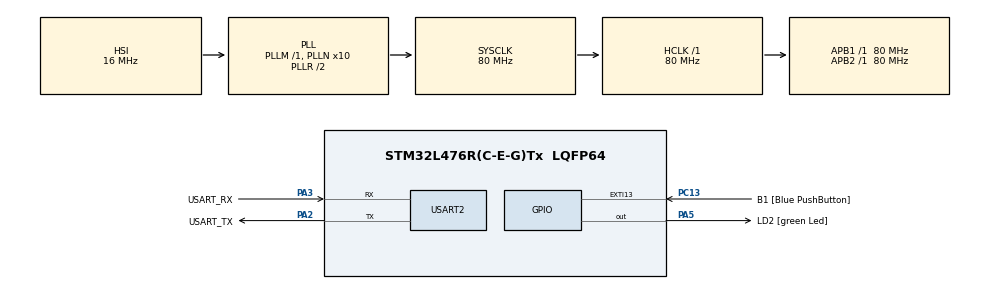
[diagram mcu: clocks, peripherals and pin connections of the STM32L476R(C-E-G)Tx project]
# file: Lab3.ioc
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Mcu.Family=STM32L4
Mcu.Name=STM32L476R(C-E-G)Tx
Mcu.Package=LQFP64
NVIC.PriorityGroup=NVIC_PRIORITYGROUP_4
PA13\ (JTMS-SWDIO).GPIO_Label=TMS
PA13\ (JTMS-SWDIO).Mode=Serial_Wire
PA13\ (JTMS-SWDIO).Signal=SYS_JTMS-SWDIO
PA14\ (JTCK-SWCLK).GPIO_Label=TCK
PA14\ (JTCK-SWCLK).Mode=Serial_Wire
PA14\ (JTCK-SWCLK).Signal=SYS_JTCK-SWCLK
PA2.GPIO_Label=USART_TX
PA2.GPIO_Mode=GPIO_MODE_AF_PP
PA2.GPIO_PuPd=GPIO_NOPULL
PA2.GPIO_Speed=GPIO_SPEED_FREQ_VERY_HIGH
PA2.Mode=Asynchronous
PA2.Signal=USART2_TX
PA3.GPIO_Label=USART_RX
PA3.GPIO_Mode=GPIO_MODE_AF_PP
PA3.GPIO_PuPd=GPIO_NOPULL
PA3.GPIO_Speed=GPIO_SPEED_FREQ_VERY_HIGH
PA3.Mode=Asynchronous
PA3.Signal=USART2_RX
PA5.GPIO_Label=LD2 [green Led]
PA5.GPIO_ModeDefaultOutputPP=GPIO_MODE_OUTPUT_PP
PA5.GPIO_PuPd=GPIO_NOPULL
PA5.GPIO_Speed=GPIO_SPEED_FREQ_LOW
PA5.Signal=GPIO_Output
PB3\ (JTDO-TRACESWO).GPIO_Label=SWO
PB3\ (JTDO-TRACESWO).Signal=SYS_JTDO-SWO
PC13.GPIO_Label=B1 [Blue PushButton]
PC13.GPIO_ModeDefaultEXTI=GPIO_MODE_IT_FALLING
PC13.GPIO_PuPd=GPIO_NOPULL
PC13.Signal=GPXTI13
PC14-OSC32_IN\ (PC14).Mode=LSE-External-Oscillator
PC14-OSC32_IN\ (PC14).Signal=RCC_OSC32_IN
PC15-OSC32_OUT\ (PC15).Mode=LSE-External-Oscillator
PC15-OSC32_OUT\ (PC15).Signal=RCC_OSC32_OUT
PH0-OSC_IN\ (PH0).Mode=HSE-External-Oscillator
PH0-OSC_IN\ (PH0).Signal=RCC_OSC_IN
PH1-OSC_OUT\ (PH1).Mode=HSE-External-Oscillator
PH1-OSC_OUT\ (PH1).Signal=RCC_OSC_OUT
ProjectManager.HeapSize=0x200
ProjectManager.StackSize=0x400
ProjectManager.TargetToolchain=STM32CubeIDE
RCC.ADCFreq_Value=64000000
RCC.AHBFreq_Value=80000000
RCC.APB1Freq_Value=80000000
RCC.APB1TimFreq_Value=80000000
RCC.APB2Freq_Value=80000000
RCC.APB2TimFreq_Value=80000000
RCC.CortexFreq_Value=80000000
RCC.HCLKFreq_Value=80000000
RCC.HSE_VALUE=8000000
RCC.HSI_VALUE=16000000
RCC.MSI_VALUE=4000000
RCC.PLLN=10
RCC.PLLSourceVirtual=RCC_PLLSOURCE_HSI
RCC.PREFETCH_ENABLE=1
RCC.SYSCLKFreq_VALUE=80000000
RCC.SYSCLKSource=RCC_SYSCLKSOURCE_PLLCLK
RCC.USBFreq_Value=64000000
RCC.VCOOutputFreq_Value=160000000
USART2.VirtualMode-Asynchronous=VM_ASYNC
board=NUCLEO-L476RG

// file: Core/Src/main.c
/* USER CODE BEGIN Header */
/**
  ******************************************************************************
  * @file           : main.c
  * @brief          : Main program body
  ******************************************************************************
  * @attention
  *
  * Copyright (c) 2025 STMicroelectronics.
  * All rights reserved.
  *
  * This software is licensed under terms that can be found in the LICENSE file
  * in the root directory of this software component.
  * If no LICENSE file comes with this software, it is provided AS-IS.
  *
  ******************************************************************************
  */
/* USER CODE END Header */
#include "main.h"

/* USER CODE BEGIN Includes */
#include "math.h"
#include "arm_math.h"
/* USER CODE END Includes */

/* USER CODE BEGIN PD */
#define N 41
#define a 2.2
#define b -1.1
#define c 0.7
#define FILTER_SIZE 15
/* USER CODE END PD */

UART_HandleTypeDef huart2;

/* USER CODE BEGIN PV */
float sine1[N], sineComposite[N], sineFiltered[N];
static float filter[FILTER_SIZE] = {     // Discrete time low pass filter which filters above 20 Hz
    -0.01259277,
    -0.02704833,
    -0.03115702,
    -0.00335167,
    0.06651710,
    0.16356430,
    0.24972947,
    0.28427791,
    0.24972947,
    0.16356430,
    0.06651710,
    -0.00335167,
    -0.03115702,
    -0.02704833,
    -0.01259277
};

float f1 = 5;   // Sine Frequency 1
float f2 = 25;  // Sine Frequency 2
float f3 = 35;  // Sine Frequency 3
float f4 = 45;  // Sine Frequency 4
float fs = 100; // Sampling Frequency
/* USER CODE END PV */

void SystemClock_Config(void);
static void MX_GPIO_Init(void);
static void MX_USART2_UART_Init(void);

/* USER CODE BEGIN 0 */
void system1(float input[], float output[], int size){
  int n;
  for (n = 0; n < size; n++) {
    if (n == 0) output[n] = input[n];
    else output[n] = input[n] + b * input[n - 1];
  }
}

void system2(float input[], float output[], int size){
  int n;
  for (n = 0; n < size; n++) {
    if (n == 0) output[n] = input[n];
    else output[n] = a * input[n] + b * input[n - 1] + c * output[n - 1];
  }
}
void convolution(float x[], float h[], float y[], int sizeX, int sizeH)
{
  int n, k;  // variables for loops
  int p=0;    // index variable for output signal y
  float sum;  // convolutions sum accumulator variable
  int Low_lim = sizeH/2;      // Staring point of the center pick N elements of the output array
  int L = sizeX + sizeH - 1;  // Original length of the convolution.

  for (n = 0; n < L; n++) {
    sum = 0;
    for (k = 0; k < sizeX; k++) {
      if ((n - k) >= 0 && (n - k) < sizeH) {
          sum = sum + x[k]*h[n-k];   // Main convolution sum calculation
      }
    }
    if(n>=Low_lim && n<(Low_lim+N))  // Only pick center N elements of the output array!
    {
      y[p] = sum;
      p++;
    }
  }
}
/* USER CODE END 0 */

int main(void)
{
  float inp[N];
  float outp[N];
  for (int i = 0; i < N; i++) {
    if (i < 7) inp[i] = 1;
    else inp[i] = 0;
  }
  /* USER CODE BEGIN 1 */
  system1(inp, outp, N);
  system2(inp, outp, N);
    //Single Tone Sinusoidal signal and Four Frequency Combined Sinusoidal Signal
  for(int n = 0; n < N; n++)
  {
      sine1[n]=sin(2*PI*f1/fs*(float)n);
      sineComposite[n]=sine1[n]+sin(2*PI*f2/fs*(float)n)+sin(2*PI*f3/fs*(float)n)+sin(2*PI*f4/fs*(float)n);
  }
  // Call Convolution Function to filter Combined Signal
  convolution(sineComposite, filter, sineFiltered, N, FILTER_SIZE);
  /* USER CODE END 1 */

  /* MCU Configuration--------------------------------------------------------*/

  /* Reset of all peripherals, Initializes the Flash interface and the Systick. */
  HAL_Init();

  /* Configure the system clock */
  SystemClock_Config();

  /* Initialize all configured peripherals */
  MX_GPIO_Init();
  MX_USART2_UART_Init();

  /* Infinite loop */
  while (1)
  {

  }
}

void SystemClock_Config(void)
{
  RCC_OscInitTypeDef RCC_OscInitStruct = {0};
  RCC_ClkInitTypeDef RCC_ClkInitStruct = {0};

  /** Configure the main internal regulator output voltage
  */
  if (HAL_PWREx_ControlVoltageScaling(PWR_REGULATOR_VOLTAGE_SCALE1) != HAL_OK)
  {
    Error_Handler();
  }

  /** Initializes the RCC Oscillators according to the specified parameters
  * in the RCC_OscInitTypeDef structure.
  */
  RCC_OscInitStruct.OscillatorType = RCC_OSCILLATORTYPE_HSI;
  RCC_OscInitStruct.HSIState = RCC_HSI_ON;
  RCC_OscInitStruct.HSICalibrationValue = RCC_HSICALIBRATION_DEFAULT;
  RCC_OscInitStruct.PLL.PLLState = RCC_PLL_ON;
  RCC_OscInitStruct.PLL.PLLSource = RCC_PLLSOURCE_HSI;
  RCC_OscInitStruct.PLL.PLLM = 1;
  RCC_OscInitStruct.PLL.PLLN = 10;
  RCC_OscInitStruct.PLL.PLLP = RCC_PLLP_DIV7;
  RCC_OscInitStruct.PLL.PLLQ = RCC_PLLQ_DIV2;
  RCC_OscInitStruct.PLL.PLLR = RCC_PLLR_DIV2;
  if (HAL_RCC_OscConfig(&RCC_OscInitStruct) != HAL_OK)
  {
    Error_Handler();
  }

  /** Initializes the CPU, AHB and APB buses clocks
  */
  RCC_ClkInitStruct.ClockType = RCC_CLOCKTYPE_HCLK|RCC_CLOCKTYPE_SYSCLK
                              |RCC_CLOCKTYPE_PCLK1|RCC_CLOCKTYPE_PCLK2;
  RCC_ClkInitStruct.SYSCLKSource = RCC_SYSCLKSOURCE_PLLCLK;
  RCC_ClkInitStruct.AHBCLKDivider = RCC_SYSCLK_DIV1;
  RCC_ClkInitStruct.APB1CLKDivider = RCC_HCLK_DIV1;
  RCC_ClkInitStruct.APB2CLKDivider = RCC_HCLK_DIV1;

  if (HAL_RCC_ClockConfig(&RCC_ClkInitStruct, FLASH_LATENCY_4) != HAL_OK)
  {
    Error_Handler();
  }
}

static void MX_USART2_UART_Init(void)
{

  huart2.Instance = USART2;
  huart2.Init.BaudRate = 115200;
  huart2.Init.WordLength = UART_WORDLENGTH_8B;
  huart2.Init.StopBits = UART_STOPBITS_1;
  huart2.Init.Parity = UART_PARITY_NONE;
  huart2.Init.Mode = UART_MODE_TX_RX;
  huart2.Init.HwFlowCtl = UART_HWCONTROL_NONE;
  huart2.Init.OverSampling = UART_OVERSAMPLING_16;
  huart2.Init.OneBitSampling = UART_ONE_BIT_SAMPLE_DISABLE;
  huart2.AdvancedInit.AdvFeatureInit = UART_ADVFEATURE_NO_INIT;
  if (HAL_UART_Init(&huart2) != HAL_OK)
  {
    Error_Handler();
  }

}

static void MX_GPIO_Init(void)
{
  GPIO_InitTypeDef GPIO_InitStruct = {0};

  /* GPIO Ports Clock Enable */
  __HAL_RCC_GPIOC_CLK_ENABLE();
  __HAL_RCC_GPIOH_CLK_ENABLE();
  __HAL_RCC_GPIOA_CLK_ENABLE();
  __HAL_RCC_GPIOB_CLK_ENABLE();

  /*Configure GPIO pin Output Level */
  HAL_GPIO_WritePin(LD2_GPIO_Port, LD2_Pin, GPIO_PIN_RESET);

  /*Configure GPIO pin : B1_Pin */
  GPIO_InitStruct.Pin = B1_Pin;
  GPIO_InitStruct.Mode = GPIO_MODE_IT_FALLING;
  GPIO_InitStruct.Pull = GPIO_NOPULL;
  HAL_GPIO_Init(B1_GPIO_Port, &GPIO_InitStruct);

  /*Configure GPIO pin : LD2_Pin */
  GPIO_InitStruct.Pin = LD2_Pin;
  GPIO_InitStruct.Mode = GPIO_MODE_OUTPUT_PP;
  GPIO_InitStruct.Pull = GPIO_NOPULL;
  GPIO_InitStruct.Speed = GPIO_SPEED_FREQ_LOW;
  HAL_GPIO_Init(LD2_GPIO_Port, &GPIO_InitStruct);

}

void Error_Handler(void)
{
  __disable_irq();
  while (1)
  {
  }
}
